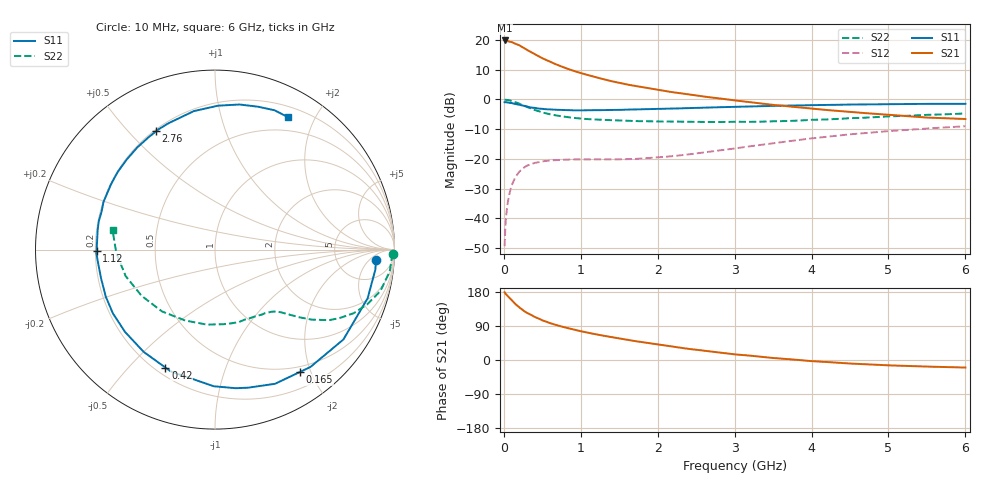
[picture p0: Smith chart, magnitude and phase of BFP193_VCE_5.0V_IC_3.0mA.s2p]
! Infineon Technologies  Discrete & RF Semiconductors
! BFP193
! VCE = 5.0 V,  IC =  3.0 mA
! Common Emitter S-Parameters:  Jan 2016
# GHz  S  MA  R  50
!  f  S11  S21  S12  S22
! GHz  MAG  ANG  MAG  ANG  MAG  ANG  MAG  ANG
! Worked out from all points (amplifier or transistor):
!   210 points, 10 MHz to 6 GHz, reference 50 ohm
!   highest |S21| = 19.8 dB at 10 MHz (marker M1)
!   |S21| within 3 dB of that: start of sweep to 289.6 MHz
!   unconditionally stable (mu >= 1): 1.468 GHz to 3.481 GHz
!   at 185 MHz: K = 0.15, MSG = 21.6 dB, |S12| = -24.9 dB
!   at 1.52 GHz: K = 1.03, MAG = 11.8 dB, |S12| = -20.1 dB
!   at 6 GHz: K = 0.94, MSG = 1.2 dB, |S12| = -9.0 dB
!   S11 on the Smith chart (normalised r, x): 10 MHz: 14, -8; 165 MHz: 0.42, -1.83; 420 MHz: 0.24, -0.64; 1.12 GHz: 0.20, -0.01; 2.76 GHz: 0.21, +0.60; 6 GHz: 0.32, +1.65
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0.01  0.899 -3.8  9.81 178.8  0.0034 86.5  0.9927 -1.4
0.02  0.9002 -7.2  9.549 175.2  0.0073 84.5  0.9859 -2.8
0.04  0.8918 -14.2  9.528 170.9  0.0144 81.5  0.9819 -5.7
0.1  0.8732 -35.0  9.273 158.3  0.0352 71.6  0.9499 -14.1
0.15  0.8428 -50.9  8.644 147.5  0.049 62.7  0.9013 -19.8
0.165  0.8298 -55.3  8.477 145.1  0.0524 60.4  0.885 -21.2
0.2  0.8191 -65.9  8.148 139.1  0.0607 56.2  0.8492 -24.7
0.26  0.7808 -81.5  7.336 129.7  0.0709 48.8  0.784 -29.3
0.3  0.7615 -90.5  6.814 124.5  0.0768 45.5  0.7478 -31.7
0.42  0.7129 -112.8  5.618 112.2  0.0864 36.5  0.6529 -36.4
0.5  0.6948 -124.9  4.931 104.7  0.0907 32.2  0.604 -38.7
0.6  0.6794 -137.5  4.298 97.3  0.0941 28.8  0.5615 -40.6
0.7  0.6708 -147.9  3.786 91.0  0.0957 26.1  0.5312 -42.1
1.02  0.6555 -173.0  2.727 75.2  0.0975 23.1  0.4739 -46.8
1.12  0.66 -179.3  2.51 70.9  0.0974 23.1  0.4638 -48.6
1.6  0.6756 156.9  1.782 53.3  0.0991 26.5  0.4387 -57.6
2.02  0.6941 140.6  1.435 40.4  0.1063 32.9  0.424 -67.3
2.76  0.7366 116.5  1.055 20.7  0.136 41.2  0.4163 -88.2
3.1  0.7538 107.8  0.931 13.2  0.1562 42.2  0.4192 -99.2
4.1  0.8042 87.1  0.681 -4.1  0.2282 37.4  0.4562 -134.2
5.1  0.833 72.0  0.54 -14.7  0.2988 26.0  0.5226 -166.5
6  0.8427 61.0  0.468 -19.9  0.354 14.2  0.5812 169.2
